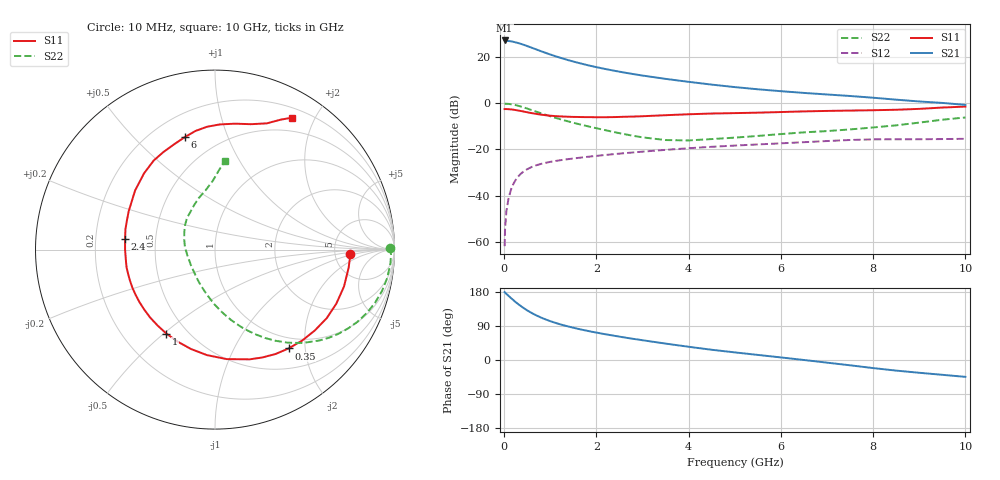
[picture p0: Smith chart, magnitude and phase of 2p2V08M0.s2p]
! (c) 2009  Infineon Technologies AG, Munich
! Infineon Technologies  Discrete & RF Semiconductors
! BFP420
! VCE =  2.0 V,  IC =  8.0 mA
! Common Emitter S-Parameters:  Nov 2009
# GHz  S  MA  R  50
!  f  S11  S21  S12  S22
! GHz  MAG  ANG  MAG  ANG  MAG  ANG  MAG  ANG
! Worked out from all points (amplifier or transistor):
!   46 points, 10 MHz to 10 GHz, reference 50 ohm
!   highest |S21| = 27.3 dB at 10 MHz (marker M1)
!   |S21| within 3 dB of that: start of sweep to 577 MHz
!   unconditionally stable (mu >= 1): 2.542 GHz to end of sweep
!   at 300 MHz: K = 0.15, MSG = 29.0 dB, |S12| = -31.8 dB
!   at 1.7 GHz: K = 0.75, MSG = 20.3 dB, |S12| = -23.4 dB
!   at 10 GHz: K = 1.10, MAG = 5.5 dB, |S12| = -15.4 dB
!   lowest NFmin = 0.79 dB at 900 MHz
!   S11 on the Smith chart (normalised r, x): 10 MHz: 6.95, -0.79; 350 MHz: 0.81, -1.69; 1 GHz: 0.39, -0.51; 2.4 GHz: 0.33, +0.05; 6 GHz: 0.33, +0.71; 10 GHz: 0.32, +1.70
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0.01  0.7513 -1.9  23.15 179.2  0.0008 76.2  0.9761 0.6
0.02  0.7535 -3.2  22.59 177.8  0.0019 88.3  0.9813 -1.7
0.05  0.7515 -7.6  22.58 174.2  0.0047 86.6  0.9803 -4.6
0.1  0.7476 -16.0  22.48 168.8  0.0092 82.1  0.9725 -9.4
0.2  0.7304 -31.5  21.64 158.0  0.0179 75.1  0.9391 -18.5
0.25  0.7156 -39.1  20.99 152.7  0.0219 71.7  0.9164 -22.7
0.35  0.6866 -53.3  19.71 143.4  0.029 65.5  0.8615 -30.7
0.4  0.6724 -59.9  18.98 139.0  0.0321 62.7  0.8318 -34.4
0.5  0.6411 -72.5  17.5 130.9  0.0374 57.8  0.7716 -41.0
0.7  0.5897 -94.3  14.74 117.5  0.0456 50.5  0.6592 -51.9
0.8  0.5698 -103.6  13.51 112.0  0.0487 47.8  0.6099 -56.4
1  0.5406 -120.1  11.49 102.5  0.0539 43.9  0.5257 -64.2
1.3  0.5168 -139.7  9.205 91.3  0.0601 40.1  0.4293 -74.0
1.7  0.5042 -160.1  7.175 79.6  0.0674 37.0  0.3389 -85.3
2.4  0.5045 173.5  5.074 63.7  0.0796 33.1  0.2367 -104.7
3.5  0.5538 143.5  3.399 43.3  0.0981 26.8  0.1602 -146.5
4.5  0.6025 124.5  2.553 27.0  0.1143 20.1  0.1683 174.9
5.5  0.6288 111.4  2.021 13.4  0.1287 13.5  0.1967 150.5
6  0.6487 105.1  1.837 6.8  0.136 10.2  0.2161 140.4
7  0.6859 93.7  1.559 -7.0  0.1525 2.3  0.2506 123.2
8.5  0.7269 74.0  1.203 -28.0  0.1664 -13.0  0.3341 99.1
10  0.8515 59.7  0.927 -44.5  0.1704 -23.0  0.4946 83.8
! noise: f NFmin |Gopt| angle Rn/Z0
0.9  0.79  0.08  30  0.13
1.8  1.14  0.06  171  0.12
2.4  1.24  0.1  160  0.13
3  1.32  0.17  -165  0.12
4  1.46  0.32  -132  0.14
5  1.85  0.39  -110  0.25
6  2.3  0.46  -95  0.37
